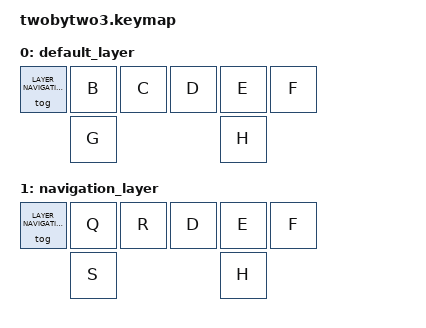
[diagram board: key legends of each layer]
#include <behaviors.dtsi>
#include <dt-bindings/zmk/keys.h>
#include <dt-bindings/zmk/bt.h>   // this is required when I want to issue &bt commands.

/ {
  keymap {
    compatible = "zmk,keymap";

    default_layer {

// +-----+-----+-----+   +-----+-----+-----+
// |  A  |  B  |  C  |   |  D  |  E  |  F  |
// +-----+-----+-----+   +-----+-----+-----+
// |        G        |   |        H        |
// +-----------------+   +-----------------+

      bindings = <
             &tog LAYER_NAVIGATION  &kp B   &kp C   &kp D   &kp E    &kp F
                                    &kp G                   &kp H
        >;
    };

    navigation_layer {
      bindings = <
             &tog LAYER_NAVIGATION  &kp Q   &kp R   &kp D   &kp E    &kp F
                                    &kp S                   &kp H
      >;
    };
  };
};
